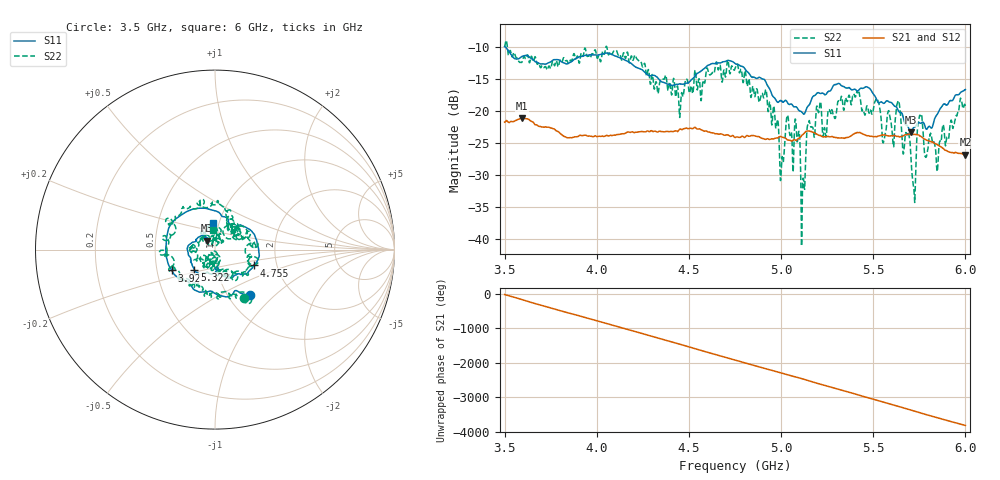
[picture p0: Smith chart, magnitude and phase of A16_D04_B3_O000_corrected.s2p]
! Created with skrf 1.9.0 (http://scikit-rf.org).
# Hz S RI R 50.0
!freq ReS11 ImS11 ReS21 ImS21 ReS12 ImS12 ReS22 ImS22
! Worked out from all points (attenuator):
!   1601 points, 3.5 GHz to 6 GHz, reference 50 ohm
!   highest |S21| = -21.12 dB at 3.592 GHz (marker M1); lowest = -26.8 dB at 6 GHz (marker M2)
!   lowest |S11| = -23.3 dB at 5.703 GHz (marker M3), VSWR 1.15, Z = 45.3 + j4.53 ohm
!   |S11| at or under -10 dB: 3.504 GHz to end of sweep
!   |S22| runs from -41.1 to -9.0 dB; largest |S21 - S12| = 0.001
!   S11 on the Smith chart (normalised r, x): 3.5 GHz: 1.26, -0.71; 3.92 GHz: 0.60, -0.15; 4.755 GHz: 1.52, -0.28; 5.322 GHz: 0.78, -0.18; 6 GHz: 0.94, +0.28
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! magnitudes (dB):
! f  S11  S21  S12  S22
! 3.5 GHz  -9.9  -21.7  -21.7  -10.0
! 3.592 GHz  -11.5  -21.1  -21.1  -12.4
! 3.917 GHz  -11.5  -23.8  -23.8  -10.9
! 3.92 GHz  -11.5  -23.8  -23.8  -11.1
! 4.334 GHz  -14.9  -23.2  -23.1  -17.1
! 4.75 GHz  -12.6  -24.1  -24.0  -13.4
! 4.755 GHz  -12.7  -24.1  -24.1  -13.0
! 4.912 GHz  -15.2  -24.4  -24.3  -17.1
! 5.003 GHz  -18.4  -24.0  -24.0  -28.2
! 5.033 GHz  -18.6  -24.5  -24.4  -20.7
! 5.088 GHz  -19.5  -24.5  -24.4  -24.8
! 5.119 GHz  -20.3  -23.7  -23.6  -30.5
! 5.147 GHz  -19.2  -23.1  -23.1  -22.1
! 5.167 GHz  -18.0  -23.2  -23.2  -22.5
! 5.322 GHz  -15.9  -24.2  -24.1  -18.4
! 5.584 GHz  -18.5  -23.9  -23.8  -19.9
! 5.638 GHz  -20.0  -24.0  -23.9  -18.4
! 5.703 GHz  -23.3  -23.7  -23.6  -26.5
! 5.719 GHz  -22.6  -23.6  -23.6  -31.9
! 5.753 GHz  -21.9  -23.9  -23.8  -20.8
! 5.845 GHz  -20.6  -25.2  -25.1  -29.1
! 6 GHz  -16.6  -26.8  -26.7  -19.3
